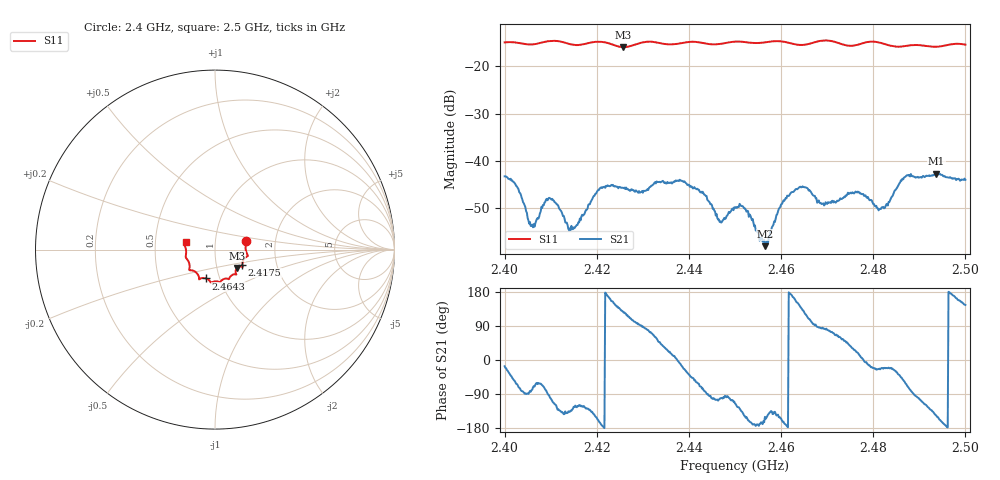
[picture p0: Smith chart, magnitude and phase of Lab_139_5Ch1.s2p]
# Hz S RI R 50
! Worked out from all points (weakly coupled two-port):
!   601 points, 2.4 GHz to 2.5 GHz, reference 50 ohm
!   highest |S21| = -42.70 dB at 2.4937 GHz (marker M1); lowest = -58.0 dB at 2.4565 GHz (marker M2)
!   lowest |S11| = -15.9 dB at 2.4257 GHz (marker M3), VSWR 1.38, Z = 62.5 - j13.1 ohm
!   |S11| at or under -10 dB: start of sweep to end of sweep
!   S12 and S22 are empty: the file has one direction only
!   S11 on the Smith chart (normalised r, x): 2.4 GHz: 1.41, +0.14; 2.4175 GHz: 1.34, -0.23; 2.4643 GHz: 0.86, -0.29; 2.5 GHz: 0.72, +0.06
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2.4e9  0.1728 0.0487  0.00659 -0.00196  0 0  0 0
2.4025e9  0.175 0.0376  0.00249 -0.00486  0 0  0 0
2.406e9  0.1707 0.00186  0.000434 -0.00207  0 0  0 0
2.4095e9  0.1822 -0.0311  -0.000136 -0.00399  0 0  0 0
2.414333e9  0.1639 -0.0493  -0.00128 -0.00134  0 0  0 0
2.416667e9  0.1528 -0.074  -0.00132 -0.00223  0 0  0 0
2.4175e9  0.1519 -0.0833  -0.00172 -0.00235  0 0  0 0
2.420833e9  0.154 -0.0972  -0.00508 -0.0011  0 0  0 0
2.425667e9  0.1229 -0.1021  -0.00318 0.00411  0 0  0 0
2.433333e9  0.1131 -0.1373  0.00392 0.00452  0 0  0 0
2.441667e9  0.0755 -0.1648  0.00259 -0.00429  0 0  0 0
2.446833e9  0.0418 -0.168  -0.000422 -0.00225  0 0  0 0
2.45e9  0.0288 -0.1807  -0.00135 -0.00293  0 0  0 0
2.452333e9  0.0211 -0.1793  -0.00271 -0.00141  0 0  0 0
2.4565e9  -0.0101 -0.1794  -0.00109 -0.000628  0 0  0 0
2.4605e9  -0.0252 -0.1809  -0.00365 -0.00113  0 0  0 0
2.464333e9  -0.0499 -0.1608  -0.0039 0.00352  0 0  0 0
2.466667e9  -0.0758 -0.1593  -0.000749 0.00447  0 0  0 0
2.483333e9  -0.1412 -0.0902  0.00345 -0.00127  0 0  0 0
2.487167e9  -0.156 -0.0543  0.00308 -0.00622  0 0  0 0
2.493667e9  -0.1613 -0.0064  -0.0061 -0.00406  0 0  0 0
2.5e9  -0.1642 0.0432  -0.00519 0.00361  0 0  0 0
